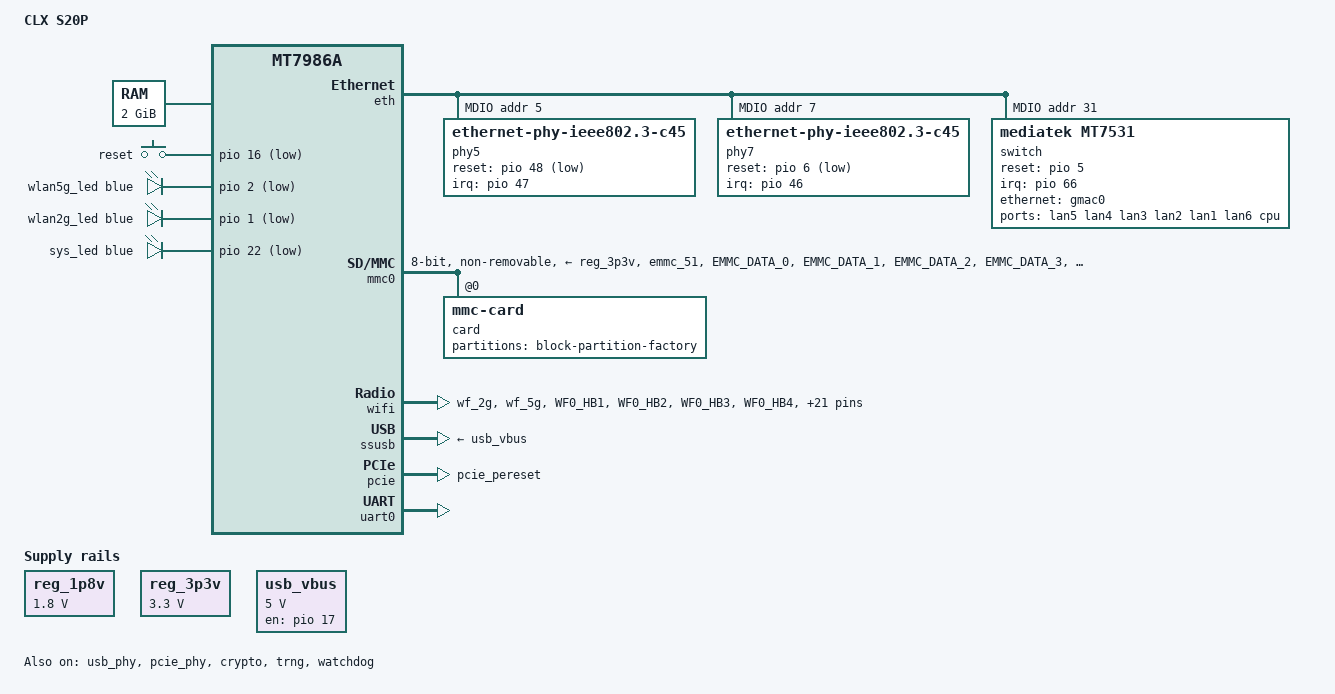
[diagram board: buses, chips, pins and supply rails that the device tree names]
// SPDX-License-Identifier: GPL-2.0-or-later OR MIT

/dts-v1/;
#include <dt-bindings/gpio/gpio.h>
#include <dt-bindings/input/input.h>
#include <dt-bindings/leds/common.h>

#include "mt7986a.dtsi"

/ {
	model = "CLX S20P";
	compatible = "clx,s20p", "mediatek,mt7986a";

	aliases {
		serial0 = &uart0;
		label-mac-device = &gmac0;
		led-boot = &sys_led;
		led-failsafe = &sys_led;
		led-running = &sys_led;
		led-upgrade = &sys_led;
	};

	chosen {
		stdout-path = "serial0:115200n8";
		bootargs-append = " root=PARTLABEL=rootfs rootwait";
	};

	memory {
		reg = <0 0x40000000 0 0x80000000>;
	};

	gpio-keys {
		compatible = "gpio-keys";

		button-reset {
			label = "reset";
			linux,code = <KEY_RESTART>;
			gpios = <&pio 16 GPIO_ACTIVE_LOW>;
		};
	};

	gpio-leds {
		compatible = "gpio-leds";

		wlan5g_led: wlan5g-led {
			function = LED_FUNCTION_WLAN_5GHZ;
			color = <LED_COLOR_ID_BLUE>;
			gpios = <&pio 2 GPIO_ACTIVE_LOW>;
		};

		wlan2g_led: wlan2g-led {
			function = LED_FUNCTION_WLAN_2GHZ;
			color = <LED_COLOR_ID_BLUE>;
			gpios = <&pio 1 GPIO_ACTIVE_LOW>;
		};

		sys_led: sys-led {
			function = LED_FUNCTION_STATUS;
			color = <LED_COLOR_ID_BLUE>;
			gpios = <&pio 22 GPIO_ACTIVE_LOW>;
		};
	};

	reg_1p8v: regulator-1p8v {
		compatible = "regulator-fixed";
		regulator-name = "fixed-1.8V";
		regulator-min-microvolt = <1800000>;
		regulator-max-microvolt = <1800000>;
		regulator-boot-on;
		regulator-always-on;
	};

	reg_3p3v: regulator-3p3v {
		compatible = "regulator-fixed";
		regulator-name = "fixed-3.3V";
		regulator-min-microvolt = <3300000>;
		regulator-max-microvolt = <3300000>;
		regulator-boot-on;
		regulator-always-on;
	};

	usb_vbus: regulator-usb-vbus {
		compatible = "regulator-fixed";
		regulator-name = "usb_vbus";
		regulator-min-microvolt = <5000000>;
		regulator-max-microvolt = <5000000>;
		gpios = <&pio 17 GPIO_ACTIVE_HIGH>;
		enable-active-high;
		regulator-boot-on;
	};
};

&eth {
	status = "okay";

	gmac0: mac@0 {
		compatible = "mediatek,eth-mac";
		reg = <0>;
		phy-mode = "2500base-x";
		nvmem-cells = <&macaddr_factory_2a 0>;
		nvmem-cell-names = "mac-address";

		fixed-link {
			speed = <2500>;
			full-duplex;
			pause;
		};
	};

	gmac1: mac@1 {
		compatible = "mediatek,eth-mac";
		reg = <1>;
		nvmem-cells = <&macaddr_factory_24 0>;
		nvmem-cell-names = "mac-address";
		phy-mode = "2500base-x";
		phy-handle = <&phy7>;
	};

	mdio: mdio-bus {
		#address-cells = <1>;
		#size-cells = <0>;

		phy5: ethernet-phy@5 {
			compatible = "ethernet-phy-ieee802.3-c45";
			reg = <5>;
			reset-assert-us = <100000>;
			reset-deassert-us = <100000>;
			reset-gpios = <&pio 48 GPIO_ACTIVE_LOW>;
			interrupt-parent = <&pio>;
			interrupts = <47 IRQ_TYPE_LEVEL_LOW>;
			realtek,aldps-enable;
			realtek,led-link-select = <0xa7 0x03 0x0>; /* led0 at 10/100/1000/2.5G/(2.5G lite), led1 at 10/100 */
			realtek,led-act-select = <0x321b>; /* led on time = 400ms, duty = 12.5%, freq = 60ms, Enable 10M LPI, modeA, led0 led1 act */
			/*realtek,led-polarity-select = <0x0018>; */
		};

		phy7: ethernet-phy@7 {
			compatible = "ethernet-phy-ieee802.3-c45";
			reg = <7>;
			reset-assert-us = <100000>;
			reset-deassert-us = <100000>;
			reset-gpios = <&pio 6 GPIO_ACTIVE_LOW>;
			interrupt-parent = <&pio>;
			interrupts = <46 IRQ_TYPE_LEVEL_LOW>;
			realtek,aldps-enable;
			realtek,led-link-select = <0xa7 0x03 0x0>; /* led0 at 10/100/1000/2.5G/(2.5G lite), led1 at 10/100 */
			realtek,led-act-select = <0x321b>; /* led on time = 400ms, duty = 12.5%, freq = 60ms, Enable 10M LPI, modeA, led0 led1 act */
			/*realtek,led-polarity-select = <0x0018>; */
		};

		switch: switch@1f {
			compatible = "mediatek,mt7531";
			reg = <31>;
			reset-gpios = <&pio 5 GPIO_ACTIVE_HIGH>;
			interrupt-controller;
			#interrupt-cells = <1>;
			interrupt-parent = <&pio>;
			interrupts = <66 IRQ_TYPE_LEVEL_HIGH>;

			ports {
				#address-cells = <1>;
				#size-cells = <0>;

				port@0 {
					reg = <0>;
					label = "lan5";
				};

				port@1 {
					reg = <1>;
					label = "lan4";
				};

				port@2 {
					reg = <2>;
					label = "lan3";
				};

				port@3 {
					reg = <3>;
					label = "lan2";
				};

				port@4 {
					reg = <4>;
					label = "lan1";
				
				};

				port@5 {
					reg = <5>;
					label = "lan6";
					phy-mode = "2500base-x";
					phy-handle = <&phy5>;
				};

				port@6 {
					reg = <6>;
					label = "cpu";
					ethernet = <&gmac0>;
					phy-mode = "2500base-x";

					fixed-link {
						speed = <2500>;
						full-duplex;
						pause;
					};
				};
			};
		};
	};
};

&mmc0 {
	pinctrl-names = "default", "state_uhs";
	pinctrl-0 = <&mmc0_pins_default>;
	pinctrl-1 = <&mmc0_pins_uhs>;
	bus-width = <8>;
	max-frequency = <200000000>;
	cap-mmc-highspeed;
	mmc-hs200-1_8v;
	mmc-hs400-1_8v;
	hs400-ds-delay = <0x14014>;
	vmmc-supply = <&reg_3p3v>;
	vqmmc-supply = <&reg_1p8v>;
	non-removable;
	no-sd;
	no-sdio;
	status = "okay";

	card@0 {
		compatible = "mmc-card";
		reg = <0>;

		block {
			compatible = "block-device";

			partitions {
				block-partition-factory {
					partname = "factory";

					nvmem-layout {
						compatible = "fixed-layout";
						#address-cells = <1>;
						#size-cells = <1>;

						eeprom_factory_0: eeprom@0 {
							reg = <0x0 0x1000>;
						};

						macaddr_factory_24: macaddr@24 {
							compatible = "mac-base";
							reg = <0x24 0x6>;
							#nvmem-cell-cells = <1>;
						};

						macaddr_factory_2a: macaddr@2a {
							compatible = "mac-base";
							reg = <0x2a 0x6>;
							#nvmem-cell-cells = <1>;
						};
					};
				};
			};
		};
	};
};

&pio {
	mmc0_pins_default: mmc0-pins {
		mux {
			function = "emmc";
			groups = "emmc_51";
		};

		conf-cmd-dat {
			pins = "EMMC_DATA_0", "EMMC_DATA_1", "EMMC_DATA_2",
			       "EMMC_DATA_3", "EMMC_DATA_4", "EMMC_DATA_5",
			       "EMMC_DATA_6", "EMMC_DATA_7", "EMMC_CMD";
			input-enable;
			drive-strength = <4>;
			mediatek,pull-up-adv = <1>;	/* pull-up 10K */
		};

		conf-clk {
			pins = "EMMC_CK";
			drive-strength = <6>;
			mediatek,pull-down-adv = <2>;	/* pull-down 50K */
		};

		conf-ds {
			pins = "EMMC_DSL";
			mediatek,pull-down-adv = <2>;	/* pull-down 50K */
		};

		conf-rst {
			pins = "EMMC_RSTB";
			drive-strength = <4>;
			mediatek,pull-up-adv = <1>;	/* pull-up 10K */
		};
	};

	mmc0_pins_uhs: mmc0-uhs-pins {
		mux {
			function = "emmc";
			groups = "emmc_51";
		};

		conf-cmd-dat {
			pins = "EMMC_DATA_0", "EMMC_DATA_1", "EMMC_DATA_2",
			       "EMMC_DATA_3", "EMMC_DATA_4", "EMMC_DATA_5",
			       "EMMC_DATA_6", "EMMC_DATA_7", "EMMC_CMD";
			input-enable;
			drive-strength = <4>;
			mediatek,pull-up-adv = <1>;	/* pull-up 10K */
		};

		conf-clk {
			pins = "EMMC_CK";
			drive-strength = <6>;
			mediatek,pull-down-adv = <2>;	/* pull-down 50K */
		};

		conf-ds {
			pins = "EMMC_DSL";
			mediatek,pull-down-adv = <2>;	/* pull-down 50K */
		};

		conf-rst {
			pins = "EMMC_RSTB";
			drive-strength = <4>;
			mediatek,pull-up-adv = <1>;	/* pull-up 10K */
		};
	};

	pcie_pins: pcie-pins {
		mux {
			function = "pcie";
			groups = "pcie_pereset";
		};
	};

	wf_2g_5g_pins: wf_2g_5g-pins {
		mux {
			function = "wifi";
			groups = "wf_2g", "wf_5g";
		};
		conf {
			pins = "WF0_HB1", "WF0_HB2", "WF0_HB3", "WF0_HB4",
			       "WF0_HB0", "WF0_HB0_B", "WF0_HB5", "WF0_HB6",
			       "WF0_HB7", "WF0_HB8", "WF0_HB9", "WF0_HB10",
			       "WF0_TOP_CLK", "WF0_TOP_DATA", "WF1_HB1",
			       "WF1_HB2", "WF1_HB3", "WF1_HB4", "WF1_HB0",
			       "WF1_HB5", "WF1_HB6", "WF1_HB7", "WF1_HB8",
			       "WF1_TOP_CLK", "WF1_TOP_DATA";
			drive-strength = <4>;
		};
	};

	wf_dbdc_pins: wf-dbdc-pins {
		mux {
			function = "wifi";
			groups = "wf_dbdc";
	};
		conf {
			pins = "WF0_HB1", "WF0_HB2", "WF0_HB3", "WF0_HB4",
				"WF0_HB0", "WF0_HB0_B", "WF0_HB5", "WF0_HB6",
				"WF0_HB7", "WF0_HB8", "WF0_HB9", "WF0_HB10",
				"WF0_TOP_CLK", "WF0_TOP_DATA", "WF1_HB1",
				"WF1_HB2", "WF1_HB3", "WF1_HB4", "WF1_HB0",
				"WF1_HB5", "WF1_HB6", "WF1_HB7", "WF1_HB8",
				"WF1_TOP_CLK", "WF1_TOP_DATA";
			drive-strength = <4>;
		};
	};
};

&wifi {
	nvmem-cells = <&eeprom_factory_0>;
	nvmem-cell-names = "eeprom";
	pinctrl-names = "default", "dbdc";
	pinctrl-0 = <&wf_2g_5g_pins>;
	pinctrl-1 = <&wf_dbdc_pins>;
	status = "okay";
};

&usb_phy {
	status = "okay";
};

&ssusb {
	vusb33-supply = <&reg_3p3v>;
	vbus-supply = <&usb_vbus>;
	status = "okay";
};

&pcie {
	pinctrl-names = "default";
	pinctrl-0 = <&pcie_pins>;
	status = "okay";
};

&pcie_phy {
	status = "okay";
};

&crypto {
	status = "okay";
};

&trng {
	status = "okay";
};

&uart0 {
	status = "okay";
};

&watchdog {
	status = "okay";
};
